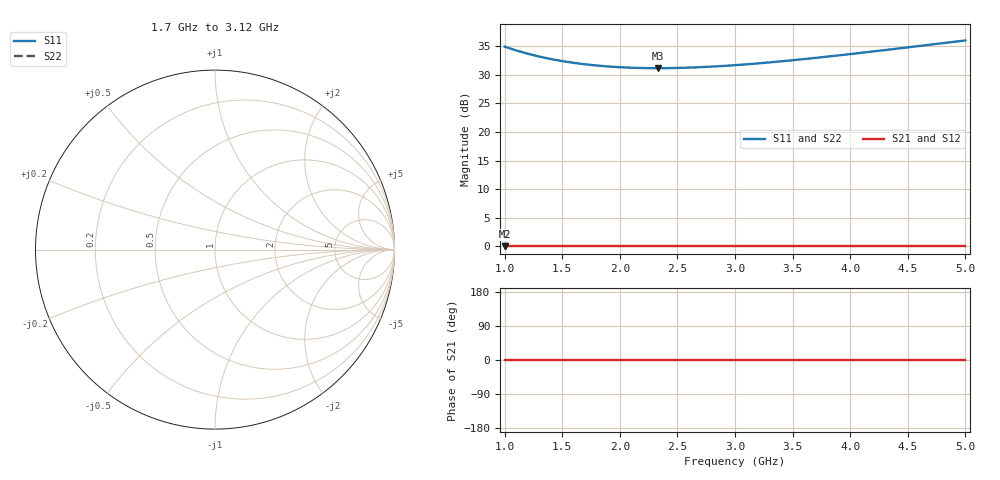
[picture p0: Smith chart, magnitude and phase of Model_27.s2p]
# GHZ S RI R 50
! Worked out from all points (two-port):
!   401 points, 1 GHz to 5 GHz, reference 50 ohm
!   highest |S21| = 0.00 dB at 1 GHz (marker M1); lowest = 0.0 dB at 1 GHz (marker M2)
!   |S21| within 3 dB of the highest: start of sweep to end of sweep
!   lowest |S11| = 31.2 dB at 2.33 GHz (marker M3)
!   |S11| at or under -10 dB: nowhere
!   |S22| runs from 31.2 to 36.0 dB; largest |S21 - S12| = 0
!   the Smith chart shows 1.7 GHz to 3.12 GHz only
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1  56.03 0  1 0  1 0  56.03 0
1.15  50.15 0  1 0  1 0  50.15 0
1.22  47.99 0  1 0  1 0  47.99 0
1.3  45.86 0  1 0  1 0  45.86 0
1.38  44.06 0  1 0  1 0  44.06 0
1.47  42.35 0  1 0  1 0  42.35 0
1.57  40.79 0  1 0  1 0  40.79 0
1.67  39.52 0  1 0  1 0  39.52 0
1.82  38.09 0  1 0  1 0  38.09 0
1.98  37.07 0  1 0  1 0  37.07 0
2.15  36.46 0  1 0  1 0  36.46 0
2.33  36.26 0  1 0  1 0  36.26 0
2.34  36.26 0  1 0  1 0  36.26 0
2.5  36.42 0  1 0  1 0  36.42 0
2.66  36.85 0  1 0  1 0  36.85 0
3  38.52 0  1 0  1 0  38.52 0
3.33  40.99 0  1 0  1 0  40.99 0
3.67  44.3 0  1 0  1 0  44.3 0
4  48.17 0  1 0  1 0  48.17 0
4.34  52.79 0  1 0  1 0  52.79 0
4.63  57.2 0  1 0  1 0  57.2 0
5  63.44 0  1 0  1 0  63.44 0
